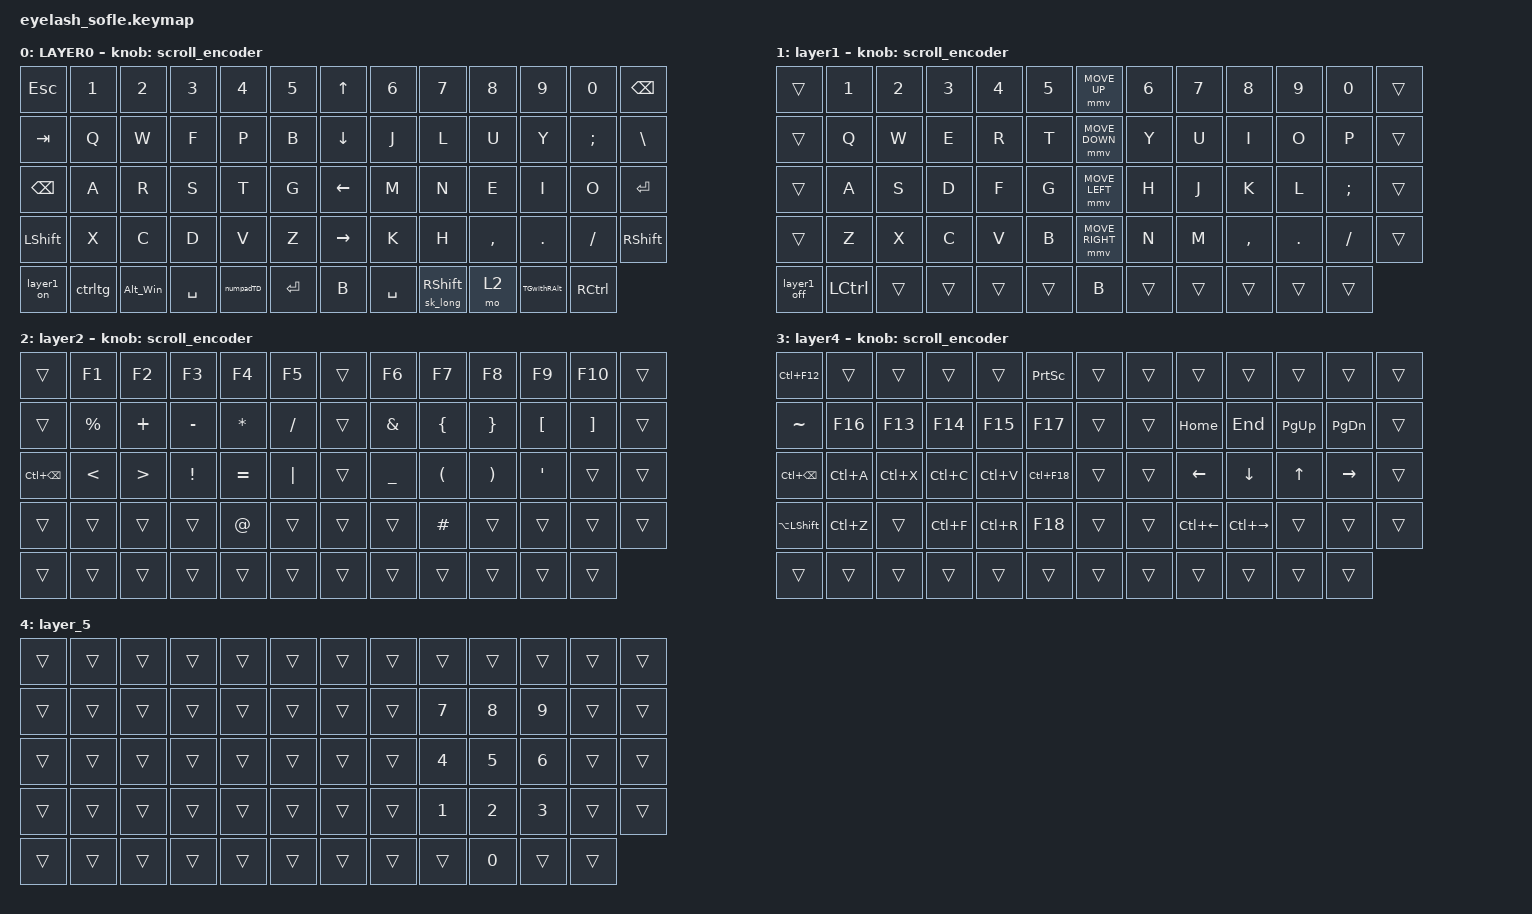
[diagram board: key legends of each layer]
#define ZMK_POINTING_DEFAULT_MOVE_VAL 1200  // 600
#define ZMK_POINTING_DEFAULT_SCRL_VAL 25   // 10

#include <input/processors.dtsi>
#include <zephyr/dt-bindings/input/input-event-codes.h>
#include <behaviors.dtsi>
#include <dt-bindings/zmk/keys.h>
#include <dt-bindings/zmk/pointing.h>
#include <dt-bindings/zmk/rgb.h>

&mmv_input_listener { input-processors = <&zip_xy_scaler 2 1>; };

&msc_input_listener { input-processors = <&zip_scroll_scaler 2 1>; };

&msc {
    acceleration-exponent = <1>;      // 0
    time-to-max-speed-ms = <100>;       // 300
    delay-ms = <0>;                   // 0
};

&mmv {
    time-to-max-speed-ms = <500>;
    acceleration-exponent = <1>;
    trigger-period-ms = <16>;
};

&soft_off { hold-time-ms = <2000>; };

/ {
    scroll_encoder: scroll_encoder {
        compatible = "zmk,behavior-sensor-rotate";
        #sensor-binding-cells = <0>;
        bindings = <&msc SCRL_DOWN>, <&msc SCRL_UP>;

        tap-ms = <100>;
    };

    tdLeft: tdLeft {
        compatible = "zmk,behavior-tap-dance";
        label = "TDLEFT";
        #binding-cells = <0>;
        bindings = <&kp LEFT>, <&kp HOME>;
    };

    sk_long: sk_long {
        compatible = "zmk,behavior-sticky-key";
        label = "SK_LONG";
        bindings = <&kp>;
        #binding-cells = <1>;
        release-after-ms = <1000>;
        quick-release;
    };

    numpadTD: numpadTD {
        compatible = "zmk,behavior-tap-dance";
        label = "NUMPADTD";
        #binding-cells = <0>;
        bindings = <&mo 3>, <&mo 4>;
    };

    Alt_Win: Alt_Win {
        compatible = "zmk,behavior-tap-dance";
        label = "ALT_WIN";
        #binding-cells = <0>;
        bindings = <&kp LEFT_ALT>, <&kp LEFT_WIN>;
    };

    behaviors {
    };

    combos {
        compatible = "zmk,combos";

        softoff {
            bindings = <&soft_off>;
            key-positions = <14 28 40>;
        };

        caps {
            bindings = <&kp CAPS>;
            key-positions = <34 35>;
            layers = <0 1>;
        };

        CTRL_combo {
            bindings = <&kp LEFT_CONTROL>;
            key-positions = <47 48>;
        };

        tog1 {
            bindings = <&tog_layer1_rgb>;
            key-positions = <29 30 55>;
        };

        DelCombo {
            bindings = <&kp DELETE>;
            key-positions = <27 26>;
        };
    };

    macros {
        TGwithRAlt: SHIFT_MCLK {
            compatible = "zmk,behavior-macro";
            #binding-cells = <0>;
            bindings =
                <&macro_tap>,
                <&tog 1 &kp RIGHT_ALT &rgb_ug RGB_COLOR_HSB(0,0,15) &rgb_ug RGB_TOG>;

            label = "SHIFT_MCLK";
        };

        ctrltg: ctrltg {
            compatible = "zmk,behavior-macro";
            #binding-cells = <0>;
            bindings =
                <&macro_tap>,
                <&tog 1>,
                <&macro_press>,
                <&kp LCTRL>,
                <&macro_pause_for_release>,
                <&macro_release>,
                <&kp LCTRL>,
                <&macro_tap>,
                <&tog 1>;

            label = "CTRLTG";
        };

        // New macro to enter Layer 1 with LED indicator

        layer1_on: layer1_on {
            compatible = "zmk,behavior-macro";
            #binding-cells = <0>;
            bindings =
                <&macro_tap>,
                <&tog 1 &rgb_ug RGB_COLOR_HSB(120,0,20) &rgb_ug RGB_ON>;

            // Sets a Green color (120) when Layer 1 is turned on
        };

        // New macro to exit Layer 1 and turn LED off

        layer1_off: layer1_off {
            compatible = "zmk,behavior-macro";
            #binding-cells = <0>;
            bindings = <&macro_tap>, <&tog 1 &rgb_ug RGB_OFF>;
        };

        tog_layer1_rgb: tog_layer1_rgb {
            compatible = "zmk,behavior-macro";
            #binding-cells = <0>;

            // This macro toggles layer 1 AND toggles the RGB underglow

            bindings =
                <&macro_tap>,
                <&tog 1 &rgb_ug RGB_COLOR_HSB(0,0,14) &rgb_ug RGB_TOG>;
        };
    };

    keymap {
        compatible = "zmk,keymap";

        layer0 {
            bindings = <
&kp ESC        &kp N1   &kp N2    &kp N3     &kp N4     &kp N5       &kp UP_ARROW     &kp N6     &kp N7                &kp N8     &kp N9       &kp N0             &kp BACKSPACE
&kp TAB        &kp Q    &kp W     &kp F      &kp P      &kp B        &kp DOWN_ARROW   &kp J      &kp L                 &kp U      &kp Y        &kp SEMICOLON      &kp BSLH
&kp BACKSPACE  &kp A    &kp R     &kp S      &kp T      &kp G        &kp LEFT_ARROW   &kp M      &kp N                 &kp E      &kp I        &kp O              &kp ENTER
&kp LSHFT      &kp X    &kp C     &kp D      &kp V      &kp Z        &kp RIGHT_ARROW  &kp K      &kp H                 &kp COMMA  &kp PERIOD   &kp SLASH          &kp RIGHT_SHIFT
&layer1_on     &ctrltg  &Alt_Win  &kp SPACE  &numpadTD  &kp ENTER    &kp B            &kp SPACE  &sk_long RIGHT_SHIFT  &mo 2      &TGwithRAlt  &kp RIGHT_CONTROL
            >;

            sensor-bindings = <&scroll_encoder>;
            display-name = "LAYER0";
        };

        layer_1 {
            bindings = <
&trans       &kp NUMBER_1  &kp NUMBER_2  &kp NUMBER_3  &kp NUMBER_4  &kp N5    &mmv MOVE_UP     &kp NUMBER_6  &kp N7  &kp N8     &kp N9      &kp N0         &trans
&trans       &kp Q         &kp W         &kp E         &kp R         &kp T     &mmv MOVE_DOWN   &kp Y         &kp U   &kp I      &kp O       &kp P          &trans
&trans       &kp A         &kp S         &kp D         &kp F         &kp G     &mmv MOVE_LEFT   &kp H         &kp J   &kp K      &kp L       &kp SEMICOLON  &trans
&trans       &kp Z         &kp X         &kp C         &kp V         &kp B     &mmv MOVE_RIGHT  &kp N         &kp M   &kp COMMA  &kp PERIOD  &kp SLASH      &trans
&layer1_off  &kp LCTRL     &trans        &trans        &trans        &trans    &kp B            &trans        &trans  &trans     &trans      &trans
            >;

            display-name = "layer1";
            sensor-bindings = <&scroll_encoder>;
        };

        layer_2 {
            bindings = <
&trans             &kp F1         &kp F2            &kp F3           &kp F4        &kp F5       &trans  &kp F6          &kp F7                &kp F8                 &kp F9            &kp F10            &trans
&trans             &kp PERCENT    &kp PLUS          &kp MINUS        &kp ASTERISK  &kp SLASH    &trans  &kp AMPERSAND   &kp LEFT_BRACE        &kp RIGHT_BRACE        &kp LEFT_BRACKET  &kp RIGHT_BRACKET  &trans
&kp LC(BACKSPACE)  &kp LESS_THAN  &kp GREATER_THAN  &kp EXCLAMATION  &kp EQUAL     &kp PIPE     &trans  &kp UNDERSCORE  &kp LEFT_PARENTHESIS  &kp RIGHT_PARENTHESIS  &kp SINGLE_QUOTE  &trans             &trans
&trans             &trans         &trans            &trans           &kp AT_SIGN   &trans       &trans  &trans          &kp HASH              &trans                 &trans            &trans             &trans
&trans             &trans         &trans            &trans           &trans        &trans       &trans  &trans          &trans                &trans                 &trans            &trans
            >;

            display-name = "layer2";
            sensor-bindings = <&scroll_encoder>;
        };

        layer_4 {
            bindings = <
&kp LC(F12)         &trans     &trans     &trans     &trans     &kp PRINTSCREEN    &trans  &trans  &trans        &trans         &trans        &trans         &trans
&kp TILDE           &kp F16    &kp F13    &kp F14    &kp F15    &kp F17            &trans  &trans  &kp HOME      &kp END        &kp PAGE_UP   &kp PAGE_DOWN  &trans
&kp LC(BACKSPACE)   &kp LC(A)  &kp LC(X)  &kp LC(C)  &kp LC(V)  &kp LC(F18)        &trans  &trans  &kp LEFT      &kp DOWN       &kp UP_ARROW  &kp RIGHT      &trans
&kp LA(LEFT_SHIFT)  &kp LC(Z)  &trans     &kp LC(F)  &kp LC(R)  &kp F18            &trans  &trans  &kp LC(LEFT)  &kp LC(RIGHT)  &trans        &trans         &trans
&trans              &trans     &trans     &trans     &trans     &trans             &trans  &trans  &trans        &trans         &trans        &trans
            >;

            display-name = "layer4";
            sensor-bindings = <&scroll_encoder>;
        };

        layer_5 {
            bindings = <
&trans  &trans  &trans  &trans  &trans  &trans    &trans  &trans  &trans  &trans  &trans  &trans  &trans
&trans  &trans  &trans  &trans  &trans  &trans    &trans  &trans  &kp N7  &kp N8  &kp N9  &trans  &trans
&trans  &trans  &trans  &trans  &trans  &trans    &trans  &trans  &kp N4  &kp N5  &kp N6  &trans  &trans
&trans  &trans  &trans  &trans  &trans  &trans    &trans  &trans  &kp N1  &kp N2  &kp N3  &trans  &trans
&trans  &trans  &trans  &trans  &trans  &trans    &trans  &trans  &trans  &kp N0  &trans  &trans
            >;
        };
    };
};
